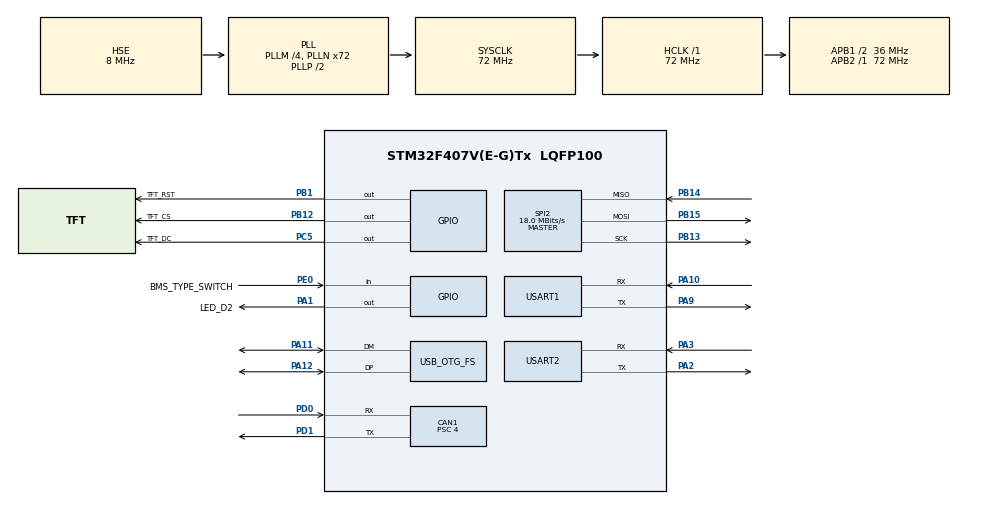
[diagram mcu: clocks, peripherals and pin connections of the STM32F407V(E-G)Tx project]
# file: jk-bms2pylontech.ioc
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CAN1.BS1=CAN_BS1_9TQ
CAN1.BS2=CAN_BS2_8TQ
CAN1.CalculateBaudRate=500000
CAN1.CalculateTimeBit=2000
CAN1.CalculateTimeQuantum=111.11111111111111
CAN1.Mode=CAN_MODE_NORMAL
CAN1.Prescaler=4
FREERTOS.HEAP_NUMBER=1
FREERTOS.Queues01=consoleOutputQueue,32,uint8_t,0,Dynamic,NULL,NULL
FREERTOS.Tasks01=getBMSDataTask,24,256,startGetBMSDataTask,Default,NULL,Dynamic,NULL,NULL;every10msTask,24,256,startEvery10msTask,Default,NULL,Dynamic,NULL,NULL;consoleOutputTa,8,256,startConsoleOutputTask,Default,NULL,Dynamic,NULL,NULL;process_485_Request_Task,24,256,startProcess_485_Request_Task,Default,NULL,Dynamic,NULL,NULL
FREERTOS.configCHECK_FOR_STACK_OVERFLOW=1
FREERTOS.configMAX_TASK_NAME_LEN=32
FREERTOS.configMINIMAL_STACK_SIZE=256
FREERTOS.configTIMER_TASK_STACK_DEPTH=512
FREERTOS.configUSE_NEWLIB_REENTRANT=1
Mcu.Family=STM32F4
Mcu.Name=STM32F407V(E-G)Tx
Mcu.Package=LQFP100
NVIC.OTG_FS_IRQn=true\:5\:0\:false\:false\:true\:true\:false\:true
NVIC.PriorityGroup=NVIC_PRIORITYGROUP_4
NVIC.TIM1_UP_TIM10_IRQn=true\:15\:0\:false\:false\:true\:false\:false\:true
NVIC.TimeBase=TIM1_UP_TIM10_IRQn
NVIC.TimeBaseIP=TIM1
NVIC.USART1_IRQn=true\:5\:0\:false\:false\:true\:true\:true\:true
NVIC.USART2_IRQn=true\:5\:0\:false\:false\:true\:true\:true\:true
PA0-WKUP.Mode=SYS_WakeUp0
PA0-WKUP.Signal=SYS_WKUP
PA1.GPIO_Label=LED_D2
PA1.Signal=GPIO_Output
PA10.Mode=Asynchronous
PA10.Signal=USART1_RX
PA11.Mode=Device_Only
PA11.Signal=USB_OTG_FS_DM
PA12.Mode=Device_Only
PA12.Signal=USB_OTG_FS_DP
PA13.Mode=JTAG_4_pins
PA13.Signal=SYS_JTMS-SWDIO
PA14.Mode=JTAG_4_pins
PA14.Signal=SYS_JTCK-SWCLK
PA15.Mode=JTAG_4_pins
PA15.Signal=SYS_JTDI
PA2.Mode=Asynchronous
PA2.Signal=USART2_TX
PA3.Mode=Asynchronous
PA3.Signal=USART2_RX
PA9.Mode=Asynchronous
PA9.Signal=USART1_TX
PB1.GPIO_Label=TFT_RST
PB1.Signal=GPIO_Output
PB12.GPIO_Label=TFT_CS
PB12.Signal=GPIO_Output
PB13.Mode=Full_Duplex_Master
PB13.Signal=SPI2_SCK
PB14.Mode=Full_Duplex_Master
PB14.Signal=SPI2_MISO
PB15.Mode=Full_Duplex_Master
PB15.Signal=SPI2_MOSI
PB3.Mode=JTAG_4_pins
PB3.Signal=SYS_JTDO-SWO
PC5.GPIO_Label=TFT_DC
PC5.Signal=GPIO_Output
PD0.Mode=CAN_Activate
PD0.Signal=CAN1_RX
PD1.Mode=CAN_Activate
PD1.Signal=CAN1_TX
PE0.GPIO_Label=BMS_TYPE_SWITCH
PE0.GPIO_PuPd=GPIO_PULLUP
PE0.Signal=GPIO_Input
PH0-OSC_IN.Mode=HSE-External-Oscillator
PH0-OSC_IN.Signal=RCC_OSC_IN
PH1-OSC_OUT.Mode=HSE-External-Oscillator
PH1-OSC_OUT.Signal=RCC_OSC_OUT
ProjectManager.HeapSize=0x200
ProjectManager.StackSize=0x400
ProjectManager.TargetToolchain=STM32CubeIDE
RCC.48MHZClocksFreq_Value=48000000
RCC.AHBFreq_Value=72000000
RCC.APB1CLKDivider=RCC_HCLK_DIV2
RCC.APB1Freq_Value=36000000
RCC.APB1TimFreq_Value=72000000
RCC.APB2Freq_Value=72000000
RCC.APB2TimFreq_Value=72000000
RCC.CortexFreq_Value=72000000
RCC.HCLKFreq_Value=72000000
RCC.HSE_VALUE=8000000
RCC.HSI_VALUE=16000000
RCC.LSE_VALUE=32768
RCC.PLLM=4
RCC.PLLN=72
RCC.PLLQ=3
RCC.SYSCLKFreq_VALUE=72000000
RCC.SYSCLKSource=RCC_SYSCLKSOURCE_PLLCLK
RCC.VCOOutputFreq_Value=144000000
SPI2.BaudRatePrescaler=SPI_BAUDRATEPRESCALER_2
SPI2.CalculateBaudRate=18.0 MBits/s
SPI2.Direction=SPI_DIRECTION_2LINES
SPI2.Mode=SPI_MODE_MASTER
SPI2.VirtualType=VM_MASTER
USART1.VirtualMode=VM_ASYNC
USART2.VirtualMode=VM_ASYNC
USB_DEVICE.CLASS_NAME_FS=CDC
USB_DEVICE.VirtualMode-CDC_FS=Cdc
USB_DEVICE.VirtualModeFS=Cdc_FS
USB_OTG_FS.VirtualMode=Device_Only
VP_FREERTOS_VS_CMSIS_V2.Mode=CMSIS_V2
VP_SYS_VS_tim1.Mode=TIM1
VP_USB_DEVICE_VS_USB_DEVICE_CDC_FS.Mode=CDC_FS
board=custom

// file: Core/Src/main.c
/* USER CODE BEGIN Header */
/**
  ******************************************************************************
  * @file           : main.c
  * @brief          : Main program body
  ******************************************************************************
  * @attention
  *
  * Copyright (c) 2022 STMicroelectronics.
  * All rights reserved.
  *
  * This software is licensed under terms that can be found in the LICENSE file
  * in the root directory of this software component.
  * If no LICENSE file comes with this software, it is provided AS-IS.
  *
  ******************************************************************************
  */
/* USER CODE END Header */
#include "main.h"
#include "cmsis_os.h"
#include "usb_device.h"

/* USER CODE BEGIN Includes */
#include "jk_bms_485.h"
#include "jk_bms_pylon.h"
#include "pylon_485.h"

#ifdef ENABLE_LCD

#include "ILI9341_GFX.h"
#include "ILI9341_STM32_Driver.h"

#endif /* ENABLE_LCD */

#define	__ENABLE_CONSOLE_DEBUG__	1
/* USER CODE END Includes */

/* USER CODE BEGIN PM */
#ifdef __ENABLE_CONSOLE_DEBUG__
#ifdef __GNUC__
/* With GCC/RAISONANCE, small printf (option LD Linker->Libraries->Small printf
set to 'Yes') calls __io_putchar() */
#define PUTCHAR_PROTOTYPE int __io_putchar(int ch)
#else
#define PUTCHAR_PROTOTYPE int fputc(int ch, FILE *f)
#endif /* __GNUC__ */
#endif /* __ENABLE_CONSOLE_DEBUG__ */

/* USER CODE END PM */

CAN_HandleTypeDef hcan1;

SPI_HandleTypeDef hspi2;

UART_HandleTypeDef huart1;
UART_HandleTypeDef huart2;

/* Definitions for getBMSDataTask */
osThreadId_t getBMSDataTaskHandle;
const osThreadAttr_t getBMSDataTask_attributes = {
  .name = "getBMSDataTask",
  .stack_size = 256 * 4,
  .priority = (osPriority_t) osPriorityNormal,
};
/* Definitions for every10msTask */
osThreadId_t every10msTaskHandle;
const osThreadAttr_t every10msTask_attributes = {
  .name = "every10msTask",
  .stack_size = 256 * 4,
  .priority = (osPriority_t) osPriorityNormal,
};
/* Definitions for consoleOutputTa */
osThreadId_t consoleOutputTaHandle;
const osThreadAttr_t consoleOutputTa_attributes = {
  .name = "consoleOutputTa",
  .stack_size = 256 * 4,
  .priority = (osPriority_t) osPriorityLow,
};
/* Definitions for process_485_Request_Task */
osThreadId_t process_485_Request_TaskHandle;
const osThreadAttr_t process_485_Request_Task_attributes = {
  .name = "process_485_Request_Task",
  .stack_size = 256 * 4,
  .priority = (osPriority_t) osPriorityNormal,
};
/* Definitions for consoleOutputQueue */
osMessageQueueId_t consoleOutputQueueHandle;
const osMessageQueueAttr_t consoleOutputQueue_attributes = {
  .name = "consoleOutputQueue"
};
/* USER CODE BEGIN PV */
uint8_t             UART_Rx_RS485_PYLON_Buffer[64];
uint8_t				rs485_Pylon_data_size = 0;
uint8_t				rs485_Pylon_data_ready = 0;
/* USER CODE END PV */

void SystemClock_Config(void);
static void MX_GPIO_Init(void);
static void MX_CAN1_Init(void);
static void MX_USART1_UART_Init(void);
static void MX_SPI2_Init(void);
static void MX_USART2_UART_Init(void);
void startGetBMSDataTask(void *argument);
void startEvery10msTask(void *argument);
void startConsoleOutputTask(void *argument);
void startProcess_485_Request_Task(void *argument);

/* USER CODE BEGIN 0 */
uint8_t				USB_Console_TX_Buffer[256];
uint8_t				USB_Console_TX_Buffer_Count = 0;
uint8_t             UART_Rx_Buffer[1024];
uint16_t			UART_Rx_Size;
uint16_t			UART_Rx_Current_Size;
uint8_t				dataReady = 5;
bms_type			protocol_type = v0;
#ifdef ENABLE_LCD
SPI_HandleTypeDef	lcd_spi;

uint8_t				lcd_soc = 110;
uint16_t			lcd_alarms = 523;
uint16_t			lcd_temp;

#endif /* ENABLE_LCD */
/* USER CODE END 0 */

int main(void)
{

  /* MCU Configuration--------------------------------------------------------*/

  /* Reset of all peripherals, Initializes the Flash interface and the Systick. */
  HAL_Init();

  /* Configure the system clock */
  SystemClock_Config();

  /* Initialize all configured peripherals */
  MX_GPIO_Init();
  MX_CAN1_Init();
  MX_USART1_UART_Init();
  MX_SPI2_Init();
  MX_USART2_UART_Init();

  /* Init scheduler */
  osKernelInitialize();

  /* Create the queue(s) */
  /* creation of consoleOutputQueue */
  consoleOutputQueueHandle = osMessageQueueNew (32, sizeof(uint8_t), &consoleOutputQueue_attributes);

  /* Create the thread(s) */
  /* creation of getBMSDataTask */
  getBMSDataTaskHandle = osThreadNew(startGetBMSDataTask, NULL, &getBMSDataTask_attributes);

  /* creation of every10msTask */
  every10msTaskHandle = osThreadNew(startEvery10msTask, NULL, &every10msTask_attributes);

  /* creation of consoleOutputTa */
  consoleOutputTaHandle = osThreadNew(startConsoleOutputTask, NULL, &consoleOutputTa_attributes);

  /* creation of process_485_Request_Task */
  process_485_Request_TaskHandle = osThreadNew(startProcess_485_Request_Task, NULL, &process_485_Request_Task_attributes);

  /* USER CODE BEGIN RTOS_EVENTS */
  /* add events, ... */
#ifdef ENABLE_LCD

  ILI9341_Init();
  //ILI9341_Set_Rotation(SCREEN_VERTICAL_3); // Bohdan work
  ILI9341_Set_Rotation(SCREEN_HORIZONTAL_2);
  ILI9341_Fill_Screen(WHITE);

#endif /* ENABLE_LCD */

  //ILI9341_Init();
  //ILI9341_FillScreen(ILI9341_BLACK);
  /* USER CODE END RTOS_EVENTS */

  /* Start scheduler */
  osKernelStart();

  /* We should never get here as control is now taken by the scheduler */
  /* Infinite loop */
  while (1)
  {

  }
}

void SystemClock_Config(void)
{
  RCC_OscInitTypeDef RCC_OscInitStruct = {0};
  RCC_ClkInitTypeDef RCC_ClkInitStruct = {0};

  /** Configure the main internal regulator output voltage
  */
  __HAL_RCC_PWR_CLK_ENABLE();
  __HAL_PWR_VOLTAGESCALING_CONFIG(PWR_REGULATOR_VOLTAGE_SCALE1);
  /** Initializes the RCC Oscillators according to the specified parameters
  * in the RCC_OscInitTypeDef structure.
  */
  RCC_OscInitStruct.OscillatorType = RCC_OSCILLATORTYPE_HSE;
  RCC_OscInitStruct.HSEState = RCC_HSE_ON;
  RCC_OscInitStruct.PLL.PLLState = RCC_PLL_ON;
  RCC_OscInitStruct.PLL.PLLSource = RCC_PLLSOURCE_HSE;
  RCC_OscInitStruct.PLL.PLLM = 4;
  RCC_OscInitStruct.PLL.PLLN = 72;
  RCC_OscInitStruct.PLL.PLLP = RCC_PLLP_DIV2;
  RCC_OscInitStruct.PLL.PLLQ = 3;
  if (HAL_RCC_OscConfig(&RCC_OscInitStruct) != HAL_OK)
  {
    Error_Handler();
  }
  /** Initializes the CPU, AHB and APB buses clocks
  */
  RCC_ClkInitStruct.ClockType = RCC_CLOCKTYPE_HCLK|RCC_CLOCKTYPE_SYSCLK
                              |RCC_CLOCKTYPE_PCLK1|RCC_CLOCKTYPE_PCLK2;
  RCC_ClkInitStruct.SYSCLKSource = RCC_SYSCLKSOURCE_PLLCLK;
  RCC_ClkInitStruct.AHBCLKDivider = RCC_SYSCLK_DIV1;
  RCC_ClkInitStruct.APB1CLKDivider = RCC_HCLK_DIV2;
  RCC_ClkInitStruct.APB2CLKDivider = RCC_HCLK_DIV1;

  if (HAL_RCC_ClockConfig(&RCC_ClkInitStruct, FLASH_LATENCY_2) != HAL_OK)
  {
    Error_Handler();
  }
}

static void MX_CAN1_Init(void)
{

  hcan1.Instance = CAN1;
  hcan1.Init.Prescaler = 4;
  hcan1.Init.Mode = CAN_MODE_NORMAL;
  hcan1.Init.SyncJumpWidth = CAN_SJW_1TQ;
  hcan1.Init.TimeSeg1 = CAN_BS1_9TQ;
  hcan1.Init.TimeSeg2 = CAN_BS2_8TQ;
  hcan1.Init.TimeTriggeredMode = DISABLE;
  hcan1.Init.AutoBusOff = DISABLE;
  hcan1.Init.AutoWakeUp = DISABLE;
  hcan1.Init.AutoRetransmission = DISABLE;
  hcan1.Init.ReceiveFifoLocked = DISABLE;
  hcan1.Init.TransmitFifoPriority = DISABLE;
  if (HAL_CAN_Init(&hcan1) != HAL_OK)
  {
    Error_Handler();
  }
  /* USER CODE BEGIN CAN1_Init 2 */
  if (HAL_CAN_Start(&hcan1) != HAL_OK)
  {
      Error_Handler();
  }
  /* USER CODE END CAN1_Init 2 */

}

static void MX_SPI2_Init(void)
{

  /* SPI2 parameter configuration*/
  hspi2.Instance = SPI2;
  hspi2.Init.Mode = SPI_MODE_MASTER;
  hspi2.Init.Direction = SPI_DIRECTION_2LINES;
  hspi2.Init.DataSize = SPI_DATASIZE_8BIT;
  hspi2.Init.CLKPolarity = SPI_POLARITY_LOW;
  hspi2.Init.CLKPhase = SPI_PHASE_1EDGE;
  hspi2.Init.NSS = SPI_NSS_SOFT;
  hspi2.Init.BaudRatePrescaler = SPI_BAUDRATEPRESCALER_2;
  hspi2.Init.FirstBit = SPI_FIRSTBIT_MSB;
  hspi2.Init.TIMode = SPI_TIMODE_DISABLE;
  hspi2.Init.CRCCalculation = SPI_CRCCALCULATION_DISABLE;
  hspi2.Init.CRCPolynomial = 10;
  if (HAL_SPI_Init(&hspi2) != HAL_OK)
  {
    Error_Handler();
  }
  /* USER CODE BEGIN SPI2_Init 2 */
#ifdef ENABLE_LCD

  lcd_spi = hspi2;

#endif

  /* USER CODE END SPI2_Init 2 */

}

static void MX_USART1_UART_Init(void)
{

  /* USER CODE BEGIN USART1_Init 0 */
  uint32_t port_rate = 115200;
  if (!HAL_GPIO_ReadPin (BMS_TYPE_SWITCH_GPIO_Port, BMS_TYPE_SWITCH_Pin)) {
	  port_rate = 9600;
	  protocol_type = v1;
  }
  /* USER CODE END USART1_Init 0 */

  huart1.Instance = USART1;
  huart1.Init.BaudRate = port_rate;
  huart1.Init.WordLength = UART_WORDLENGTH_8B;
  huart1.Init.StopBits = UART_STOPBITS_1;
  huart1.Init.Parity = UART_PARITY_NONE;
  huart1.Init.Mode = UART_MODE_TX_RX;
  huart1.Init.HwFlowCtl = UART_HWCONTROL_NONE;
  huart1.Init.OverSampling = UART_OVERSAMPLING_16;
  if (HAL_UART_Init(&huart1) != HAL_OK)
  {
    Error_Handler();
  }
  /* USER CODE BEGIN USART1_Init 2 */
  HAL_UARTEx_ReceiveToIdle_IT(&huart1, UART_Rx_Buffer, 350);
  /* USER CODE END USART1_Init 2 */

}

static void MX_USART2_UART_Init(void)
{

  huart2.Instance = USART2;
  huart2.Init.BaudRate = 115200;
  huart2.Init.WordLength = UART_WORDLENGTH_8B;
  huart2.Init.StopBits = UART_STOPBITS_1;
  huart2.Init.Parity = UART_PARITY_NONE;
  huart2.Init.Mode = UART_MODE_TX_RX;
  huart2.Init.HwFlowCtl = UART_HWCONTROL_NONE;
  huart2.Init.OverSampling = UART_OVERSAMPLING_16;
  if (HAL_UART_Init(&huart2) != HAL_OK)
  {
    Error_Handler();
  }
  /* USER CODE BEGIN USART2_Init 2 */
  HAL_UARTEx_ReceiveToIdle_IT(&huart2, UART_Rx_RS485_PYLON_Buffer, 32);
  /* USER CODE END USART2_Init 2 */

}

static void MX_GPIO_Init(void)
{
  GPIO_InitTypeDef GPIO_InitStruct = {0};

  /* GPIO Ports Clock Enable */
  __HAL_RCC_GPIOH_CLK_ENABLE();
  __HAL_RCC_GPIOA_CLK_ENABLE();
  __HAL_RCC_GPIOC_CLK_ENABLE();
  __HAL_RCC_GPIOB_CLK_ENABLE();
  __HAL_RCC_GPIOD_CLK_ENABLE();
  __HAL_RCC_GPIOE_CLK_ENABLE();

  /*Configure GPIO pin Output Level */
  HAL_GPIO_WritePin(LED_D2_GPIO_Port, LED_D2_Pin, GPIO_PIN_RESET);

  /*Configure GPIO pin Output Level */
  HAL_GPIO_WritePin(TFT_DC_GPIO_Port, TFT_DC_Pin, GPIO_PIN_RESET);

  /*Configure GPIO pin Output Level */
  HAL_GPIO_WritePin(GPIOB, TFT_RST_Pin|TFT_CS_Pin, GPIO_PIN_RESET);

  /*Configure GPIO pin : LED_D2_Pin */
  GPIO_InitStruct.Pin = LED_D2_Pin;
  GPIO_InitStruct.Mode = GPIO_MODE_OUTPUT_PP;
  GPIO_InitStruct.Pull = GPIO_NOPULL;
  GPIO_InitStruct.Speed = GPIO_SPEED_FREQ_LOW;
  HAL_GPIO_Init(LED_D2_GPIO_Port, &GPIO_InitStruct);

  /*Configure GPIO pin : TFT_DC_Pin */
  GPIO_InitStruct.Pin = TFT_DC_Pin;
  GPIO_InitStruct.Mode = GPIO_MODE_OUTPUT_PP;
  GPIO_InitStruct.Pull = GPIO_NOPULL;
  GPIO_InitStruct.Speed = GPIO_SPEED_FREQ_LOW;
  HAL_GPIO_Init(TFT_DC_GPIO_Port, &GPIO_InitStruct);

  /*Configure GPIO pins : TFT_RST_Pin TFT_CS_Pin */
  GPIO_InitStruct.Pin = TFT_RST_Pin|TFT_CS_Pin;
  GPIO_InitStruct.Mode = GPIO_MODE_OUTPUT_PP;
  GPIO_InitStruct.Pull = GPIO_NOPULL;
  GPIO_InitStruct.Speed = GPIO_SPEED_FREQ_LOW;
  HAL_GPIO_Init(GPIOB, &GPIO_InitStruct);

  /*Configure GPIO pin : BMS_TYPE_SWITCH_Pin */
  GPIO_InitStruct.Pin = BMS_TYPE_SWITCH_Pin;
  GPIO_InitStruct.Mode = GPIO_MODE_INPUT;
  GPIO_InitStruct.Pull = GPIO_PULLUP;
  HAL_GPIO_Init(BMS_TYPE_SWITCH_GPIO_Port, &GPIO_InitStruct);

}

/* USER CODE BEGIN 4 */

#ifdef __ENABLE_CONSOLE_DEBUG__
PUTCHAR_PROTOTYPE
{
	//HAL_GPIO_TogglePin(LED_D2_GPIO_Port, LED_D2_Pin); //Toggle the state of pin
	USB_Console_TX_Buffer[USB_Console_TX_Buffer_Count] = ch;
	USB_Console_TX_Buffer_Count += 1;
	if (USB_Console_TX_Buffer_Count > 128) {
		taskENTER_CRITICAL();
		CDC_Transmit_FS(USB_Console_TX_Buffer, USB_Console_TX_Buffer_Count);
		USB_Console_TX_Buffer_Count = 0;
		taskEXIT_CRITICAL();
	}

	return ch;
}
#endif /* __ENABLE_CONSOLE_DEBUG__ */

void HAL_UARTEx_RxEventCallback(UART_HandleTypeDef *huart, uint16_t size) {
	if (huart->Instance == USART1) {
		UART_Rx_Size += size;
		if (JK_Battery_485_Check_Frame_CRC(UART_Rx_Buffer, UART_Rx_Size, protocol_type) == true) {
			UART_Rx_Current_Size = 10;
		} else {
			HAL_UARTEx_ReceiveToIdle_IT(huart, &UART_Rx_Buffer[UART_Rx_Size], 350);
		}
	} else if (huart->Instance == USART2) {
		rs485_Pylon_data_size += size;
		if (Pylon_485_Check_CRC(UART_Rx_RS485_PYLON_Buffer, rs485_Pylon_data_size)) {
			rs485_Pylon_data_ready = 1;
		} else {
			HAL_UARTEx_ReceiveToIdle_IT(huart, &UART_Rx_RS485_PYLON_Buffer[rs485_Pylon_data_size], 32);
		}
	}
}

void HAL_UART_RxCpltCallback(UART_HandleTypeDef *huart)
{
	if (huart->Instance == USART1) {
		printf("HAL_UART_RxCpltCallback USART1\r\n");
	} else if (huart->Instance == USART2) {
		printf("HAL_UART_RxCpltCallback USART2\r\n");
	}
}

#ifdef ENABLE_LCD

void drawBattery(uint8_t soc) {
	if (lcd_soc != soc) {
		uint8_t x = 5;
		uint8_t yStart = 10;

		uint8_t width = 60;
		uint8_t step_height = 25;

		ILI9341_Draw_Filled_Rectangle_Coord(x + width/2 - 10, yStart, x + width/2 + 10, yStart - 5, BLACK);
		ILI9341_Draw_Filled_Rectangle_Coord(x, yStart, x + width, yStart + step_height * 5, BLACK);

		uint16_t state_color = GREEN;
		if (soc < 40) {
			state_color = ORANGE;
		}
		if (soc < 20) {
			state_color = RED;
		}

		for (int j=0; j<5; j++) {
			uint8_t current_soc = 20 * j;
			uint8_t i = 5 - j;
			if (soc > current_soc) {
				ILI9341_Draw_Filled_Rectangle_Coord(x + 4, yStart + step_height * (i - 1) + 4, x + width - 4, yStart + step_height * i - 4 , state_color);
			}
		}
		lcd_soc = soc;
	}
}

void drawVoltage_Current() {
	char str[32];
	uint16_t voltage = jk_bms_battery_info.battery_status.battery_voltage;
	int16_t current = jk_bms_battery_info.battery_status.battery_current;
	if (current > 0) {
		// charging
		ILI9341_Draw_Text_Space(">", 85, 18, WHITE, Font_26_B, WHITE, 15);
		ILI9341_Draw_Text_Space("<", 65, 18, BLACK, Font_26_B, WHITE, 15);
		ILI9341_Draw_Filled_Rectangle_Coord(70, 32, 105, 37, BLACK);
	} else {
		// discharging
		ILI9341_Draw_Text_Space("<", 65, 18, WHITE, Font_26_B, WHITE, 15);
		ILI9341_Draw_Text_Space(">", 85, 18, BLACK, Font_26_B, WHITE, 15);
		ILI9341_Draw_Filled_Rectangle_Coord(70, 32, 105, 37, BLACK);
	}

	if (current < 0) {
		current = -current;
	}

	sprintf(str, "%d", (int)(voltage/100));

	ILI9341_Draw_Text(str, 112, 10, DARKCYAN, Font_37x47, WHITE);
	ILI9341_Draw_Text(".", 190, 26, DARKCYAN, Font_34x36, WHITE);

	sprintf(str, "%02d", (int)(voltage%100));
	ILI9341_Draw_Text(str, 200, 10, DARKCYAN, Font_37x47, WHITE);

	ILI9341_Draw_Text("V", 275, 26, DARKCYAN, Font_34x36, WHITE);

	sprintf(str, "%03d", (int)(current/100));

	ILI9341_Draw_Text(str, 75, 70, DARKCYAN, Font_37x47, WHITE);
	ILI9341_Draw_Text(".", 190, 86, DARKCYAN, Font_34x36, WHITE);

	sprintf(str, "%02d", (int)(current%100));

	ILI9341_Draw_Text(str, 200, 70, DARKCYAN, Font_37x47, WHITE);

	ILI9341_Draw_Text("A", 275, 86, DARKCYAN, Font_34x36, WHITE);
}

void drawTemperature() {
	char str[32];
	sprintf(str, "%03dC", jk_bms_battery_info.battery_status.sensor_temperature_1);
	ILI9341_Draw_Text_Space(str, 80, 120, MAROON, Font_26_B, WHITE, 25);

	sprintf(str, "%03dC", jk_bms_battery_info.battery_status.sensor_temperature_2);
	ILI9341_Draw_Text_Space(str, 200, 120, MAROON, Font_26_B, WHITE, 25);
}

void drawAlarms() {
	uint16_t color = LIGHTGREY;

	if (jk_bms_battery_info.battery_alarms.charging_overvoltage) {
		color = RED;
	} else {
		color = LIGHTGREY;
	}
	ILI9341_Draw_Text_Space("COVT", 5, 200, color, Font_26_B, WHITE, 25);
	if (jk_bms_battery_info.battery_alarms.discharging_undervoltage) {
		color = RED;
	} else {
		color = LIGHTGREY;
	}
	ILI9341_Draw_Text_Space("DUVT", 110, 200, color, Font_26_B, WHITE, 25);

	if (jk_bms_battery_info.battery_alarms.low_capacity) {
		color = RED;
	} else {
		color = LIGHTGREY;
	}
	ILI9341_Draw_Text_Space("LCAP", 215, 200, color, Font_26_B, WHITE, 25);

	if (jk_bms_battery_info.battery_alarms.charging_overcurrent) {
		color = RED;
	} else {
		color = LIGHTGREY;
	}
	ILI9341_Draw_Text_Space("COVC", 5, 160, color, Font_26_B, WHITE, 25);

	if (jk_bms_battery_info.battery_alarms.discharging_overcurrent) {
		color = RED;
	} else {
		color = LIGHTGREY;
	}
	ILI9341_Draw_Text_Space("DOVC", 110, 160, color, Font_26_B, WHITE, 25);

	if (jk_bms_battery_info.battery_alarms.battery_over_temperature) {
		color = RED;
	} else {
		color = LIGHTGREY;
	}
	ILI9341_Draw_Text_Space("BOVT", 215, 160, color, Font_26_B, WHITE, 25);

}
#endif /* ENABLE_LCD */

void updateLCD() {
#ifdef ENABLE_LCD
	taskENTER_CRITICAL();
	drawBattery(jk_bms_battery_info.battery_status.battery_soc);
	drawVoltage_Current();

	ILI9341_Draw_Filled_Rectangle_Coord(310, 5, 315, 150, RED);

	if (lcd_temp != (jk_bms_battery_info.battery_status.sensor_temperature_1 + jk_bms_battery_info.battery_status.sensor_temperature_2)) {
		drawTemperature();
		lcd_temp = jk_bms_battery_info.battery_status.sensor_temperature_1 + jk_bms_battery_info.battery_status.sensor_temperature_2;
	}

	if (lcd_alarms != jk_bms_battery_info.battery_alarms.alarm_data) {
		lcd_alarms = jk_bms_battery_info.battery_alarms.alarm_data;
		drawAlarms();
	}
	taskEXIT_CRITICAL();
#endif
}

/* USER CODE END 4 */

void startGetBMSDataTask(void *argument)
{
  /* init code for USB_DEVICE */
  MX_USB_DEVICE_Init();
  /* USER CODE BEGIN 5 */
  //uint8_t reset_count = 0;
  //updateLCD();
	/* Infinite loop */
  for(;;)
  {
	  osDelay(1000);
	  if (dataReady = 5) {
		  updateLCD();
		  dataReady = 0;
	  }
	  // Force new query every 5 seconds
	  if (UART_Rx_Current_Size == 0) {
		  UART_Rx_Size = 0;
		  HAL_UARTEx_ReceiveToIdle_IT(&huart1, UART_Rx_Buffer, 350);
		  Request_JK_Battery_485_Status_Frame(huart1, protocol_type);
		  //HAL_GPIO_TogglePin(LED_D2_GPIO_Port, LED_D2_Pin); //Toggle the state of pin
	  }
	  HAL_GPIO_TogglePin(LED_D2_GPIO_Port, LED_D2_Pin); //Toggle the state of pin
  }
  /* USER CODE END 5 */
}

void startEvery10msTask(void *argument)
{
  /* USER CODE BEGIN startEvery10msTask */
  /* Infinite loop */
  for(;;)
  {
	  if (UART_Rx_Current_Size > 0) {
		#ifdef __ENABLE_CONSOLE_DEBUG__
		  printf("------------------------------------\r\n");
		  for (int i=0; i<20; i++) {
			  for (int j=0; j<16; j++) {
				  printf("%02X ", UART_Rx_Buffer[16*i + j]);
			 }
			 printf("\r\n");
		  }
		#endif /* __ENABLE_CONSOLE_DEBUG__ */
		  Parse_JK_Battery_485_Status_Frame(&UART_Rx_Buffer, protocol_type);
		#ifdef __ENABLE_CONSOLE_DEBUG__
		  printf("Decoded data, protocol type: %u\r\n", protocol_type);
		  printf("Cells number: %u\r\n", jk_bms_battery_info.cells_number);
		  printf("Power tube temperature: %i\r\n", jk_bms_battery_info.battery_status.power_tube_temperature);
		  printf("Battery temperature 1: %i\r\n", jk_bms_battery_info.battery_status.sensor_temperature_1);
		  printf("Battery temperature 2: %i\r\n", jk_bms_battery_info.battery_status.sensor_temperature_2);
		  printf("Battery voltage: %u\r\n", jk_bms_battery_info.battery_status.battery_voltage);
		  printf("Battery current: %i\r\n", jk_bms_battery_info.battery_status.battery_current);

		  printf("Battery current bytes: Hi: %u Lo: %u\r\n", jk_bms_battery_info.battery_status.current_hi_byte, jk_bms_battery_info.battery_status.current_low_byte);

		  printf("SOC: %u\r\n", jk_bms_battery_info.battery_status.battery_soc);
		  printf("Battery cycles: %i\r\n", jk_bms_battery_info.battery_status.battery_cycles);
		  printf("Battery cycle capacity: %lu\r\n", jk_bms_battery_info.battery_status.battery_cycle_capacity);
		  printf("Battery alarms 0x%X\r\n", jk_bms_battery_info.battery_alarms.alarm_data);
		  printf("Battery charge voltage: %u\r\n", jk_bms_battery_info.battery_limits.battery_charge_voltage);
		  printf("Battery discharge voltage: %u\r\n", jk_bms_battery_info.battery_limits.battery_discharge_voltage);
		  printf("Battery charge current limit: %i\r\n", jk_bms_battery_info.battery_limits.battery_charge_current_limit);
		  printf("Battery discharge current limit: %i\r\n", jk_bms_battery_info.battery_limits.battery_discharge_current_limit);
		#endif /* __ENABLE_CONSOLE_DEBUG__ */
		  for (int i=0; i<200; i++) {
		   UART_Rx_Buffer[i] = 0;
		  }
		  Tx_JK_BMS_Status_via_CAN(hcan1);
		  UART_Rx_Current_Size = 0;
		  dataReady += 1;
	  }
	  osDelay(100);
  }
  /* USER CODE END startEvery10msTask */
}

void startConsoleOutputTask(void *argument)
{
  /* USER CODE BEGIN startConsoleOutputTask */
  /* Infinite loop */
	uint8_t count = 0;
	for(;;)
	{
		count = USB_Console_TX_Buffer_Count;
		osDelay(200);
		taskENTER_CRITICAL();
		if (count > 0 && USB_Console_TX_Buffer_Count == count) {
			CDC_Transmit_FS(USB_Console_TX_Buffer, USB_Console_TX_Buffer_Count);
			USB_Console_TX_Buffer_Count = 0;
		}
		taskEXIT_CRITICAL();
	}
  /* USER CODE END startConsoleOutputTask */
}

void startProcess_485_Request_Task(void *argument)
{
  /* USER CODE BEGIN startProcess_485_Request_Task */
  /* Infinite loop */
  for(;;)
  {
	  if (rs485_Pylon_data_ready > 0) {
		  #ifdef __ENABLE_CONSOLE_DEBUG__
		  	  printf("----------- PYLON RS485 Request ---------------------\r\n");
			  for (int i=0; i<rs485_Pylon_data_size; i++) {
				  printf("%02X ", UART_Rx_RS485_PYLON_Buffer[i]);
			  }

			  struct pylon_rs485_frame frame = Pylon_485_decode_frame(UART_Rx_RS485_PYLON_Buffer, rs485_Pylon_data_size);
			  printf("CRC %04X\r\n", frame.crc);
			  printf("Frame command: %02X\r\n", frame.cid2);
			  pylon_rs485_process_request(huart2, &frame);
 	 	  #endif /* __ENABLE_CONSOLE_DEBUG__ */
		  printf("\r\n");
		  rs485_Pylon_data_ready = 0;
		  rs485_Pylon_data_size = 0;
		  HAL_UARTEx_ReceiveToIdle_IT(&huart2, UART_Rx_RS485_PYLON_Buffer, 32);
	  }
    osDelay(10);
  }
  /* USER CODE END startProcess_485_Request_Task */
}

void HAL_TIM_PeriodElapsedCallback(TIM_HandleTypeDef *htim)
{
  if (htim->Instance == TIM1) {
    HAL_IncTick();
  }
}

void Error_Handler(void)
{
  __disable_irq();
  while (1)
  {
  }
}
